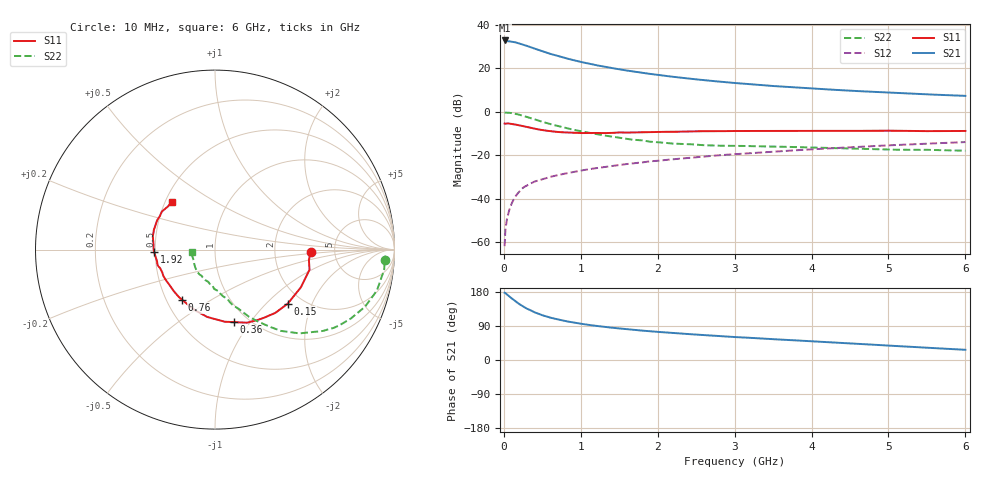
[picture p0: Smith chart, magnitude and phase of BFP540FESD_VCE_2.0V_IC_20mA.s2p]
! Infineon Technologies  Discrete & RF Semiconductors
! BFP540FESD
! VCE =  2.0 V,  IC =  20 mA
! Common Emitter S-Parameters:  Nov 2015
# GHz  S  MA  R  50
!  f  S11  S21  S12  S22
! GHz  MAG  ANG  MAG  ANG  MAG  ANG  MAG  ANG
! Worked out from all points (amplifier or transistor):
!   210 points, 10 MHz to 6 GHz, reference 50 ohm
!   highest |S21| = 32.8 dB at 10 MHz (marker M1)
!   |S21| within 3 dB of that: start of sweep to 338.7 MHz
!   unconditionally stable (mu >= 1): start of sweep to 10.18 MHz; 1.735 GHz to end of sweep
!   at 185 MHz: K = 0.27, MSG = 34.5 dB, |S12| = -37.5 dB
!   at 1.52 GHz: K = 0.96, MSG = 21.9 dB, |S12| = -24.5 dB
!   at 6 GHz: K = 1.17, MAG = 8.1 dB, |S12| = -14.0 dB
!   S11 on the Smith chart (normalised r, x): 10 MHz: 3.28, -0.14; 150 MHz: 1.67, -1.35; 360 MHz: 0.86, -0.84; 760 MHz: 0.60, -0.38; 1.92 GHz: 0.49, -0.02; 6 GHz: 0.54, +0.33
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0.01  0.5332 -1.6  43.43 177.6  0.0008 90.2  0.9484 -3.6
0.02  0.5264 -6.3  41.77 176.5  0.0019 110.1  0.948 -2.3
0.05  0.5383 -12.0  42.04 171.4  0.004 85.3  0.9491 -6.8
0.1  0.5226 -23.7  40.77 163.0  0.0075 80.3  0.9304 -14.2
0.15  0.5048 -36.7  39.36 155.2  0.0112 79.4  0.8944 -20.9
0.2  0.487 -46.4  37.04 147.7  0.0143 74.9  0.8487 -26.9
0.24  0.4674 -54.4  35.2 142.7  0.017 72.2  0.8112 -31.3
0.3  0.4448 -66.3  32.53 135.4  0.02 68.6  0.7531 -37.0
0.36  0.4172 -75.5  29.82 130.0  0.0228 67.0  0.6972 -41.4
0.4  0.4055 -82.3  28.18 125.8  0.0246 66.2  0.6625 -44.8
0.5  0.378 -96.5  24.58 118.1  0.0277 63.5  0.5826 -51.0
0.6  0.3561 -108.0  21.47 112.0  0.0314 62.2  0.5173 -55.3
0.76  0.3344 -123.2  17.83 104.5  0.0363 61.5  0.4388 -61.4
0.9  0.326 -134.8  15.35 98.9  0.0405 61.2  0.3841 -65.8
1.02  0.321 -142.1  13.7 95.1  0.0445 61.0  0.3486 -69.1
1.4  0.3229 -161.4  10.09 85.3  0.0558 60.3  0.266 -79.9
1.92  0.3397 -177.6  7.304 75.6  0.0721 59.3  0.2019 -94.3
2.02  0.3421 179.1  6.923 73.9  0.0744 58.6  0.1966 -97.7
3.1  0.3578 161.2  4.423 59.6  0.1075 53.6  0.1621 -123.1
4.1  0.3609 152.3  3.327 48.3  0.1386 48.1  0.1477 -138.5
5.1  0.362 143.1  2.694 36.9  0.1704 40.6  0.1327 -154.4
6  0.3587 131.7  2.305 26.9  0.1989 33.3  0.1262 -174.4
